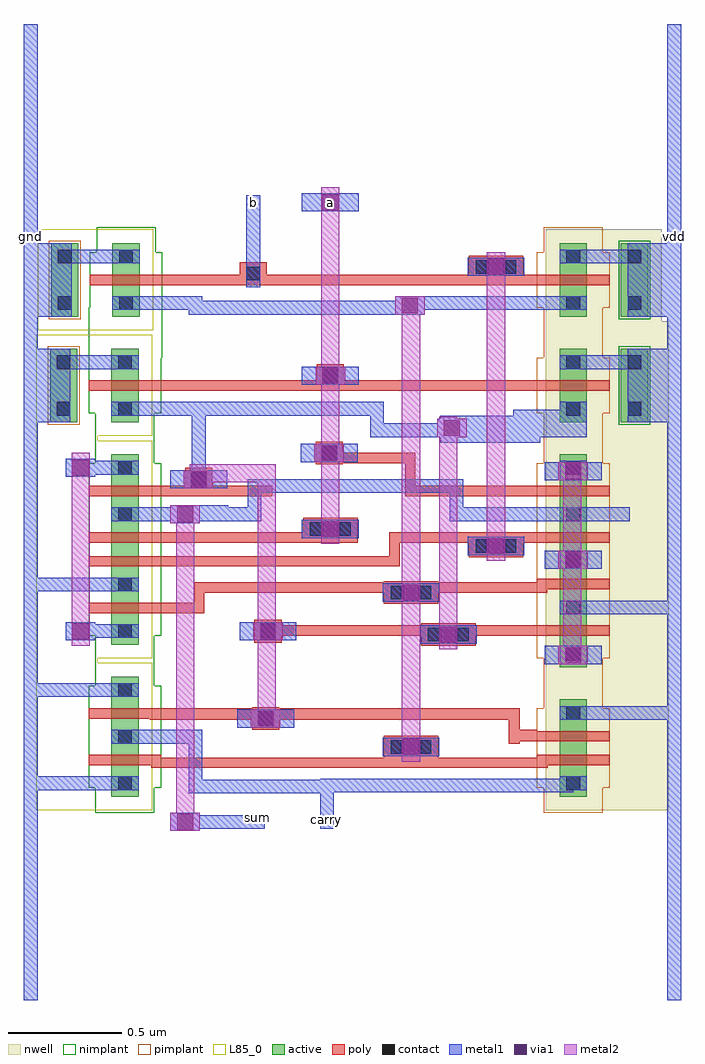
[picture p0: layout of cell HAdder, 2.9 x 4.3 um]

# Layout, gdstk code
from math import pi, radians
import gdstk
lib = gdstk.Library(unit=1e-6, precision=5e-10)
def R(c, l, rs):  # rectangles x0, y0, x1, y1
    for r in rs: c.add(gdstk.rectangle(r[:2], r[2:], *l))
active = (1, 0)
nwell = (2, 0)
poly = (3, 0)
nimplant = (4, 0)
pimplant = (5, 0)
contact = (6, 0)
metal1 = (7, 0)
via1 = (8, 0)
metal2 = (9, 0)
L85_0 = (85, 0)

pmos1v_cdns_765070438330 = lib.new_cell('pmos1v_CDNS_765070438330')
R(pmos1v_cdns_765070438330, active, [(-0.14,0,0,0.12), (0,0,0.045,0.12), (0.045,0,0.185,0.12), (-0.14,0.27,0.185,0.39)])
R(pmos1v_cdns_765070438330, nwell, [(-0.2,-0.06,0.245,0.45)])
R(pmos1v_cdns_765070438330, poly, [(0,-0.1,0.045,-0.05), (0,-0.05,0.045,0), (0,0,0.045,0.12), (0,0.12,0.045,0.17), (0,0.17,0.045,0.22)])
R(pmos1v_cdns_765070438330, nimplant, [(-0.15,0.26,0.195,0.4)])
R(pmos1v_cdns_765070438330, pimplant, [(-0.1,-0.1,0.145,0.22), (-0.21,-0.07,0.255,0.19)])
R(pmos1v_cdns_765070438330, contact, [(-0.11,0.03,-0.05,0.09), (0.095,0.03,0.155,0.09), (-0.11,0.3,-0.05,0.36), (0.095,0.3,0.155,0.36)])
R(pmos1v_cdns_765070438330, metal1, [(-0.11,0,-0.05,0.12), (0.095,0,0.155,0.12), (-0.14,0.3,0.185,0.36)])

pmos1v_cdns_765070438331 = lib.new_cell('pmos1v_CDNS_765070438331')
R(pmos1v_cdns_765070438331, active, [(-0.05,0,0,0.12), (0,0,0.045,0.12), (0.045,0,0.155,0.12)])
R(pmos1v_cdns_765070438331, nwell, [(-0.11,-0.06,0.215,0.18)])
R(pmos1v_cdns_765070438331, poly, [(0,-0.1,0.045,-0.05), (0,-0.05,0.045,0), (0,0,0.045,0.12), (0,0.12,0.045,0.17), (0,0.17,0.045,0.22)])
R(pmos1v_cdns_765070438331, pimplant, [(-0.1,-0.1,0.145,0.22), (-0.12,-0.07,0.225,0.19)])
R(pmos1v_cdns_765070438331, contact, [(0.095,0.03,0.155,0.09)])
R(pmos1v_cdns_765070438331, metal1, [(0.095,0,0.155,0.12)])

nmos1v_cdns_765070438332 = lib.new_cell('nmos1v_CDNS_765070438332')
R(nmos1v_cdns_765070438332, active, [(-0.14,0,0,0.12), (0,0,0.045,0.12), (0.045,0,0.095,0.12)])
R(nmos1v_cdns_765070438332, poly, [(0,-0.1,0.045,-0.05), (0,-0.05,0.045,0), (0,0,0.045,0.12), (0,0.12,0.045,0.17), (0,0.17,0.045,0.22)])
R(nmos1v_cdns_765070438332, nimplant, [(-0.1,-0.1,0.145,0.22), (-0.21,-0.07,0.165,0.19)])
R(nmos1v_cdns_765070438332, contact, [(-0.11,0.03,-0.05,0.09)])
R(nmos1v_cdns_765070438332, metal1, [(-0.11,0,-0.05,0.12)])
R(nmos1v_cdns_765070438332, L85_0, [(-0.2,-0.06,0.155,0.18)])

pmos1v_cdns_765070438333 = lib.new_cell('pmos1v_CDNS_765070438333')
R(pmos1v_cdns_765070438333, active, [(-0.11,0,0,0.12), (0,0,0.045,0.12), (0.045,0,0.155,0.12)])
R(pmos1v_cdns_765070438333, nwell, [(-0.17,-0.06,0.215,0.18)])
R(pmos1v_cdns_765070438333, poly, [(0,-0.1,0.045,-0.05), (0,-0.05,0.045,0), (0,0,0.045,0.12), (0,0.12,0.045,0.17), (0,0.17,0.045,0.22)])
R(pmos1v_cdns_765070438333, pimplant, [(-0.1,-0.1,0.145,0.22), (-0.18,-0.07,0.225,0.19)])
R(pmos1v_cdns_765070438333, contact, [(-0.11,0.03,-0.05,0.09), (0.095,0.03,0.155,0.09)])
R(pmos1v_cdns_765070438333, metal1, [(-0.11,0,-0.05,0.12), (0.095,0,0.155,0.12)])

pmos1v_cdns_765070438334 = lib.new_cell('pmos1v_CDNS_765070438334')
R(pmos1v_cdns_765070438334, active, [(-0.14,0,0,0.12), (0,0,0.045,0.12), (0.045,0,0.075,0.12)])
R(pmos1v_cdns_765070438334, nwell, [(-0.2,-0.06,0.135,0.18)])
R(pmos1v_cdns_765070438334, poly, [(0,-0.1,0.045,-0.05), (0,-0.05,0.045,0), (0,0,0.045,0.12), (0,0.12,0.045,0.17), (0,0.17,0.045,0.22)])
R(pmos1v_cdns_765070438334, pimplant, [(-0.1,-0.1,0.145,0.22), (-0.21,-0.07,0.145,0.19)])
R(pmos1v_cdns_765070438334, contact, [(-0.11,0.03,-0.05,0.09)])
R(pmos1v_cdns_765070438334, metal1, [(-0.11,0,-0.05,0.12)])

pmos1v_cdns_765070438335 = lib.new_cell('pmos1v_CDNS_765070438335')
R(pmos1v_cdns_765070438335, active, [(-0.03,0,0,0.12), (0,0,0.045,0.12), (0.045,0,0.185,0.12)])
R(pmos1v_cdns_765070438335, nwell, [(-0.09,-0.06,0.245,0.18)])
R(pmos1v_cdns_765070438335, poly, [(0,-0.1,0.045,-0.05), (0,-0.05,0.045,0), (0,0,0.045,0.12), (0,0.12,0.045,0.17), (0,0.17,0.045,0.22)])
R(pmos1v_cdns_765070438335, pimplant, [(-0.1,-0.1,0.145,0.22), (-0.1,-0.07,0.255,0.19)])
R(pmos1v_cdns_765070438335, contact, [(0.095,0.03,0.155,0.09)])
R(pmos1v_cdns_765070438335, metal1, [(0.095,0,0.155,0.12)])

nmos1v_cdns_765070438336 = lib.new_cell('nmos1v_CDNS_765070438336')
R(nmos1v_cdns_765070438336, active, [(-0.14,0,0,0.12), (0,0,0.045,0.12), (0.045,0,0.155,0.12)])
R(nmos1v_cdns_765070438336, poly, [(0,-0.1,0.045,-0.05), (0,-0.05,0.045,0), (0,0,0.045,0.12), (0,0.12,0.045,0.17), (0,0.17,0.045,0.22)])
R(nmos1v_cdns_765070438336, nimplant, [(-0.1,-0.1,0.145,0.22), (-0.21,-0.07,0.225,0.19)])
R(nmos1v_cdns_765070438336, contact, [(-0.11,0.03,-0.05,0.09), (0.095,0.03,0.155,0.09)])
R(nmos1v_cdns_765070438336, metal1, [(-0.11,0,-0.05,0.12), (0.095,0,0.155,0.12)])
R(nmos1v_cdns_765070438336, L85_0, [(-0.2,-0.06,0.215,0.18)])

nmos1v_cdns_765070438337 = lib.new_cell('nmos1v_CDNS_765070438337')
R(nmos1v_cdns_765070438337, active, [(-0.05,0,0,0.12), (0,0,0.045,0.12), (0.045,0,0.185,0.12)])
R(nmos1v_cdns_765070438337, poly, [(0,-0.1,0.045,-0.05), (0,-0.05,0.045,0), (0,0,0.045,0.12), (0,0.12,0.045,0.17), (0,0.17,0.045,0.22)])
R(nmos1v_cdns_765070438337, nimplant, [(-0.1,-0.1,0.145,0.22), (-0.12,-0.07,0.255,0.19)])
R(nmos1v_cdns_765070438337, contact, [(0.095,0.03,0.155,0.09)])
R(nmos1v_cdns_765070438337, metal1, [(0.095,0,0.155,0.12)])
R(nmos1v_cdns_765070438337, L85_0, [(-0.11,-0.06,0.245,0.18)])

nmos1v_cdns_765070438338 = lib.new_cell('nmos1v_CDNS_765070438338')
R(nmos1v_cdns_765070438338, active, [(-0.03,0,0,0.12), (0,0,0.045,0.12), (0.045,0,0.095,0.12)])
R(nmos1v_cdns_765070438338, poly, [(0,-0.1,0.045,-0.05), (0,-0.05,0.045,0), (0,0,0.045,0.12), (0,0.12,0.045,0.17), (0,0.17,0.045,0.22)])
R(nmos1v_cdns_765070438338, nimplant, [(-0.1,-0.1,0.145,0.22), (-0.1,-0.07,0.165,0.19)])
R(nmos1v_cdns_765070438338, L85_0, [(-0.09,-0.06,0.155,0.18)])

nmos1v_cdns_765070438339 = lib.new_cell('nmos1v_CDNS_765070438339')
R(nmos1v_cdns_765070438339, active, [(-0.11,0,0,0.12), (0,0,0.045,0.12), (0.045,0,0.075,0.12)])
R(nmos1v_cdns_765070438339, poly, [(0,-0.1,0.045,-0.05), (0,-0.05,0.045,0), (0,0,0.045,0.12), (0,0.12,0.045,0.17), (0,0.17,0.045,0.22)])
R(nmos1v_cdns_765070438339, nimplant, [(-0.1,-0.1,0.145,0.22), (-0.18,-0.07,0.145,0.19)])
R(nmos1v_cdns_765070438339, contact, [(-0.11,0.03,-0.05,0.09)])
R(nmos1v_cdns_765070438339, metal1, [(-0.11,0,-0.05,0.12)])
R(nmos1v_cdns_765070438339, L85_0, [(-0.17,-0.06,0.135,0.18)])

c_pmos1v_cdns_765070438331 = lib.new_cell('pmos1v_CDNS_7650704383310')
R(c_pmos1v_cdns_765070438331, active, [(-0.05,0,0,0.12), (0,0,0.045,0.12), (0.045,0,0.185,0.12)])
R(c_pmos1v_cdns_765070438331, nwell, [(-0.11,-0.06,0.245,0.18)])
R(c_pmos1v_cdns_765070438331, poly, [(0,-0.1,0.045,-0.05), (0,-0.05,0.045,0), (0,0,0.045,0.12), (0,0.12,0.045,0.17), (0,0.17,0.045,0.22)])
R(c_pmos1v_cdns_765070438331, pimplant, [(-0.1,-0.1,0.145,0.22), (-0.12,-0.07,0.255,0.19)])
R(c_pmos1v_cdns_765070438331, contact, [(0.095,0.03,0.155,0.09)])
R(c_pmos1v_cdns_765070438331, metal1, [(0.095,0,0.155,0.12)])

c_pmos1v_cdns_765070438331_ = lib.new_cell('pmos1v_CDNS_7650704383311')
R(c_pmos1v_cdns_765070438331_, active, [(-0.14,0,0,0.12), (0,0,0.045,0.12), (0.045,0,0.095,0.12)])
R(c_pmos1v_cdns_765070438331_, nwell, [(-0.2,-0.06,0.155,0.18)])
R(c_pmos1v_cdns_765070438331_, poly, [(0,-0.1,0.045,-0.05), (0,-0.05,0.045,0), (0,0,0.045,0.12), (0,0.12,0.045,0.17), (0,0.17,0.045,0.22)])
R(c_pmos1v_cdns_765070438331_, pimplant, [(-0.1,-0.1,0.145,0.22), (-0.21,-0.07,0.165,0.19)])
R(c_pmos1v_cdns_765070438331_, contact, [(-0.11,0.03,-0.05,0.09)])
R(c_pmos1v_cdns_765070438331_, metal1, [(-0.11,0,-0.05,0.12)])

nmos1v_cdns_765070438331 = lib.new_cell('nmos1v_CDNS_7650704383312')
R(nmos1v_cdns_765070438331, active, [(-0.14,-0.27,0.185,-0.15), (-0.14,0,0,0.12), (0,0,0.045,0.12), (0.045,0,0.185,0.12)])
R(nmos1v_cdns_765070438331, poly, [(0,-0.1,0.045,-0.05), (0,-0.05,0.045,0), (0,0,0.045,0.12), (0,0.12,0.045,0.17), (0,0.17,0.045,0.22)])
R(nmos1v_cdns_765070438331, nimplant, [(-0.1,-0.1,0.145,0.22), (-0.21,-0.07,0.255,0.19)])
R(nmos1v_cdns_765070438331, pimplant, [(-0.15,-0.28,0.195,-0.14)])
R(nmos1v_cdns_765070438331, contact, [(-0.11,-0.24,-0.05,-0.18), (0.095,-0.24,0.155,-0.18), (-0.11,0.03,-0.05,0.09), (0.095,0.03,0.155,0.09)])
R(nmos1v_cdns_765070438331, metal1, [(-0.14,-0.24,0.185,-0.18), (-0.11,0,-0.05,0.12), (0.095,0,0.155,0.12)])
R(nmos1v_cdns_765070438331, L85_0, [(-0.2,-0.33,0.245,0.18)])

m1_po_cdns_765070438330 = lib.new_cell('M1_PO_CDNS_765070438330')
R(m1_po_cdns_765070438330, poly, [(-0.06,-0.0475,0.06,0.0525)])
R(m1_po_cdns_765070438330, contact, [(-0.03,-0.0275,0.03,0.0325)])
R(m1_po_cdns_765070438330, metal1, [(-0.03,-0.0575,0.03,0.0625)])

m2_m1_cdns_765070438331 = lib.new_cell('M2_M1_CDNS_765070438331')
R(m2_m1_cdns_765070438331, metal1, [(-0.04,-0.065,0.04,0.065)])
R(m2_m1_cdns_765070438331, via1, [(-0.035,-0.035,0.035,0.035)])
R(m2_m1_cdns_765070438331, metal2, [(-0.065,-0.04,0.065,0.04)])

m2_m1_cdns_765070438332 = lib.new_cell('M2_M1_CDNS_765070438332')
R(m2_m1_cdns_765070438332, metal1, [(-0.04,-0.125,0.04,0.125)])
R(m2_m1_cdns_765070438332, via1, [(-0.035,-0.035,0.035,0.035)])
R(m2_m1_cdns_765070438332, metal2, [(-0.04,-0.065,0.04,0.065)])

m2_m1_cdns_765070438333 = lib.new_cell('M2_M1_CDNS_765070438333')
R(m2_m1_cdns_765070438333, metal1, [(-0.04,-0.065,0.04,0.065)])
R(m2_m1_cdns_765070438333, via1, [(-0.035,-0.035,0.035,0.035)])
R(m2_m1_cdns_765070438333, metal2, [(-0.04,-0.065,0.04,0.065)])

m1_po_cdns_765070438334 = lib.new_cell('M1_PO_CDNS_765070438334')
R(m1_po_cdns_765070438334, poly, [(-0.05,-0.06,0.05,0.06)])
R(m1_po_cdns_765070438334, contact, [(-0.03,-0.03,0.03,0.03)])
R(m1_po_cdns_765070438334, metal1, [(-0.04,-0.125,0.04,0.125)])

m2_m1_cdns_765070438335 = lib.new_cell('M2_M1_CDNS_765070438335')
R(m2_m1_cdns_765070438335, metal1, [(-0.125,-0.04,0.125,0.04)])
R(m2_m1_cdns_765070438335, via1, [(-0.035,-0.035,0.035,0.035)])
R(m2_m1_cdns_765070438335, metal2, [(-0.04,-0.065,0.04,0.065)])

m1_po_cdns_765070438336 = lib.new_cell('M1_PO_CDNS_765070438336')
R(m1_po_cdns_765070438336, poly, [(-0.12,-0.05,0.12,0.05)])
R(m1_po_cdns_765070438336, contact, [(-0.09,-0.03,-0.03,0.03), (0.03,-0.03,0.09,0.03)])
R(m1_po_cdns_765070438336, metal1, [(-0.12,-0.03,0.12,0.03)])

hadder = lib.new_cell('HAdder')
R(hadder, nwell, [(2.7,-3.645,3.24,-1.49), (2.94,-3.245,3.235,-1.835)])
R(hadder, nimplant, [(0.685,-1.65,0.72,-1.43), (0.975,-1.65,1.01,-1.43)])
R(hadder, metal1, [(1.4,-3.725,1.46,-3.665), (1.705,-3.725,1.765,-3.665), (0.4,-1.145,0.46,-1.085), (3.235,-1.145,3.295,-1.085), (1.38,-0.995,1.44,-0.935), (1.685,-0.995,1.72,-0.935)])
R(hadder, L85_0, [(0.455,-3.645,0.725,-1.995)])
hadder.add(gdstk.FlexPath([(1.475,-2.855),(1.475,-2.8525)], 0.045, ends="extended", simple_path=True, layer=3, datatype=0))  # poly
hadder.add(gdstk.FlexPath([(2.56,-3.325),(2.56,-3.315)], 0.045, ends=(0, 0.025), simple_path=True, layer=3, datatype=0))  # poly
hadder.add(gdstk.FlexPath([(0.98,-3.22),(1.465,-3.22)], 0.05, ends="extended", simple_path=True, layer=3, datatype=0))  # poly
hadder.add(gdstk.FlexPath([(2.56,-3.315),(2.66,-3.315)], 0.05, ends=(0.0225, 0), simple_path=True, layer=3, datatype=0))  # poly
hadder.add(gdstk.FlexPath([(2.66,-2.2375),(2.1025,-2.2375)], 0.045, ends=(0, 0.0225), simple_path=True, layer=3, datatype=0))  # poly
hadder.add(gdstk.FlexPath([(2.1025,-2.2375),(2.1025,-2.26)], 0.045, ends=(0.0225, 0), simple_path=True, layer=3, datatype=0))  # poly
hadder.add(gdstk.FlexPath([(1.005,-2.4425),(1.87,-2.4425)], 0.045, ends="flush", simple_path=True, layer=3, datatype=0))  # poly
hadder.add(gdstk.FlexPath([(2.48,-2.4425),(2.48,-2.48)], 0.045, ends="extended", simple_path=True, layer=3, datatype=0))  # poly
hadder.add(gdstk.FlexPath([(1.465,-3.22),(1.465,-3.24)], 0.045, ends="extended", simple_path=True, layer=3, datatype=0))  # poly
hadder.add(gdstk.FlexPath([(2.0325,-2.4425),(2.0325,-2.5475)], 0.045, ends="extended", simple_path=True, layer=3, datatype=0))  # poly
hadder.add(gdstk.FlexPath([(1.75,-2.0925),(2.1025,-2.0925)], 0.045, ends=(0, 0.0225), simple_path=True, layer=3, datatype=0))  # poly
hadder.add(gdstk.FlexPath([(1.1725,-2.7525),(1.1725,-2.6625)], 0.045, ends="extended", simple_path=True, layer=3, datatype=0))  # poly
hadder.add(gdstk.FlexPath([(1.1725,-2.6625),(2.705,-2.6625)], 0.045, ends=(0.0225, 0), simple_path=True, layer=3, datatype=0))  # poly
hadder.add(gdstk.FlexPath([(2.1025,-2.0925),(2.1025,-2.2375)], 0.045, ends="extended", simple_path=True, layer=3, datatype=0))  # poly
hadder.add(gdstk.FlexPath([(2.48,-1.3075),(2.6825,-1.3075)], 0.045, ends="extended", simple_path=True, layer=3, datatype=0))  # poly
hadder.add(gdstk.FlexPath([(2.105,-2.66),(2.105,-2.685)], 0.045, ends="extended", simple_path=True, layer=3, datatype=0))  # poly
hadder.add(gdstk.FlexPath([(2.685,-3.435),(2.105,-3.435)], 0.045, ends="extended", simple_path=True, layer=3, datatype=0))  # poly
hadder.add(gdstk.FlexPath([(2.0325,-2.5475),(1.005,-2.5475)], 0.045, ends=(0.0225, 0), simple_path=True, layer=3, datatype=0))  # poly
hadder.add(gdstk.FlexPath([(2.66,-2.4425),(2.0325,-2.4425)], 0.045, ends=(0, 0.0225), simple_path=True, layer=3, datatype=0))  # poly
hadder.add(gdstk.FlexPath([(2.0325,-2.5475),(2.055,-2.5475)], 0.045, ends=(0.0225, 0), simple_path=True, layer=3, datatype=0))  # poly
hadder.add(gdstk.FlexPath([(1.01,-1.3075),(2.66,-1.3075)], 0.045, ends="flush", simple_path=True, layer=3, datatype=0))  # poly
hadder.add(gdstk.FlexPath([(1.475,-2.8525),(2.685,-2.8525)], 0.045, ends="flush", simple_path=True, layer=3, datatype=0))  # poly
hadder.add(gdstk.FlexPath([(1.465,-3.22),(2.56,-3.22)], 0.05, ends="extended", simple_path=True, layer=3, datatype=0))  # poly
hadder.add(gdstk.FlexPath([(2.66,-3.435),(0.96,-3.435)], 0.045, ends="flush", simple_path=True, layer=3, datatype=0))  # poly
hadder.add(gdstk.FlexPath([(2.105,-3.435),(2.105,-3.365)], 0.045, ends="extended", simple_path=True, layer=3, datatype=0))  # poly
hadder.add(gdstk.FlexPath([(0.9825,-2.2375),(1.17,-2.2375)], 0.045, ends="extended", simple_path=True, layer=3, datatype=0))  # poly
hadder.add(gdstk.FlexPath([(1.17,-2.2375),(1.17,-2.185)], 0.045, ends="extended", simple_path=True, layer=3, datatype=0))  # poly
hadder.add(gdstk.FlexPath([(2.48,-1.25),(2.48,-1.3075)], 0.045, ends="extended", simple_path=True, layer=3, datatype=0))  # poly
hadder.add(gdstk.FlexPath([(1.005,-1.7725),(2.66,-1.7725)], 0.045, ends="flush", simple_path=True, layer=3, datatype=0))  # poly
hadder.add(gdstk.FlexPath([(2.56,-3.22),(2.56,-3.325)], 0.05, ends="extended", simple_path=True, layer=3, datatype=0))  # poly
hadder.add(gdstk.FlexPath([(1.005,-2.7525),(1.1725,-2.7525)], 0.045, ends=(0, 0.0225), simple_path=True, layer=3, datatype=0))  # poly
hadder.add(gdstk.FlexPath([(1.005,-2.2375),(1.4725,-2.2375)], 0.045, ends=(0, 0.0225), simple_path=True, layer=3, datatype=0))  # poly
hadder.add(gdstk.FlexPath([(1.4725,-2.2375),(1.4725,-2.25)], 0.045, ends=(0.0225, 0), simple_path=True, layer=3, datatype=0))  # poly
hadder.add(gdstk.FlexPath([(2.6825,-2.4425),(2.48,-2.4425)], 0.045, ends="extended", simple_path=True, layer=3, datatype=0))  # poly
hadder.add(gdstk.FlexPath([(1.735,-3.665),(1.735,-3.54)], 0.06, ends=(0, 0.03), simple_path=True, layer=7, datatype=0))  # metal1
hadder.add(gdstk.FlexPath([(1.11,-3.695),(1.4,-3.695)], 0.06, ends="flush", simple_path=True, layer=7, datatype=0))  # metal1
hadder.add(gdstk.FlexPath([(0.885,-1.41),(1.155,-1.41)], 0.06, ends=(0, 0.03), simple_path=True, layer=7, datatype=0))  # metal1
hadder.add(gdstk.FlexPath([(2.605,-1.965),(2.235,-1.965)], 0.12, ends=(0.06, 0), simple_path=True, layer=7, datatype=0))  # metal1
hadder.add(gdstk.FlexPath([(1.17,-2.185),(1.17,-2.2)], 0.06, ends=(0.03, 0), simple_path=True, layer=7, datatype=0))  # metal1
hadder.add(gdstk.FlexPath([(0.43,-1.7725),(0.43,-2.65)], 0.06, ends="flush", simple_path=True, layer=7, datatype=0))  # metal1
hadder.add(gdstk.FlexPath([(0.43,-1.125),(0.43,-1.3075)], 0.06, ends="flush", simple_path=True, layer=7, datatype=0))  # metal1
hadder.add(gdstk.FlexPath([(0.65,-2.135),(0.875,-2.135)], 0.06, ends=(0.065, 0.03), simple_path=True, layer=7, datatype=0))  # metal1
hadder.add(gdstk.FlexPath([(0.875,-2.855),(0.65,-2.855)], 0.06, ends=(0.03, 0.065), simple_path=True, layer=7, datatype=0))  # metal1
hadder.add(gdstk.FlexPath([(3.265,-3.215),(3.265,-4.48)], 0.06, ends=(0.03, 0), simple_path=True, layer=7, datatype=0))  # metal1
hadder.add(gdstk.FlexPath([(1.415,-2.34),(1.235,-2.34)], 0.06, ends=(0.03, 0.065), simple_path=True, layer=7, datatype=0))  # metal1
hadder.add(gdstk.FlexPath([(1.415,-2.215),(1.415,-2.34)], 0.06, ends="extended", simple_path=True, layer=7, datatype=0))  # metal1
hadder.add(gdstk.FlexPath([(2.305,-2.215),(1.415,-2.215)], 0.06, ends="extended", simple_path=True, layer=7, datatype=0))  # metal1
hadder.add(gdstk.FlexPath([(0.785,-1.67),(0.545,-1.67)], 0.06, ends="flush", simple_path=True, layer=7, datatype=0))  # metal1
hadder.add(gdstk.FlexPath([(0.79,-1.205),(0.55,-1.205)], 0.06, ends="flush", simple_path=True, layer=7, datatype=0))  # metal1
hadder.add(gdstk.FlexPath([(2.88,-1.67),(3.12,-1.67)], 0.06, ends="flush", simple_path=True, layer=7, datatype=0))  # metal1
hadder.add(gdstk.FlexPath([(2.88,-1.205),(3.06,-1.205)], 0.06, ends="flush", simple_path=True, layer=7, datatype=0))  # metal1
hadder.add(gdstk.FlexPath([(2.82,-1.905),(2.82,-1.94)], 0.12, ends=(0, 0.06), simple_path=True, layer=7, datatype=0))  # metal1
hadder.add(gdstk.FlexPath([(3.12,-1.7725),(3.265,-1.7725)], 0.325, ends=(0, 0.03), simple_path=True, layer=7, datatype=0))  # metal1
hadder.add(gdstk.FlexPath([(3.095,-1.3075),(3.265,-1.3075)], 0.325, ends=(0, 0.03), simple_path=True, layer=7, datatype=0))  # metal1
hadder.add(gdstk.FlexPath([(3.265,-1.145),(3.265,-1.3075)], 0.06, ends=(0, 0.1625), simple_path=True, layer=7, datatype=0))  # metal1
hadder.add(gdstk.FlexPath([(0.545,-1.7725),(0.43,-1.7725)], 0.325, ends=(0, 0.03), simple_path=True, layer=7, datatype=0))  # metal1
hadder.add(gdstk.FlexPath([(0.43,-3.525),(0.43,-4.48)], 0.06, ends="flush", simple_path=True, layer=7, datatype=0))  # metal1
hadder.add(gdstk.FlexPath([(0.55,-1.3075),(0.43,-1.3075)], 0.325, ends=(0, 0.03), simple_path=True, layer=7, datatype=0))  # metal1
hadder.add(gdstk.FlexPath([(0.785,-3.525),(0.43,-3.525)], 0.06, ends=(0, 0.03), simple_path=True, layer=7, datatype=0))  # metal1
hadder.add(gdstk.FlexPath([(2.605,-1.97),(2.605,-1.965)], 0.06, ends=(0.03, 0.06), simple_path=True, layer=7, datatype=0))  # metal1
hadder.add(gdstk.FlexPath([(3.265,-1.7725),(3.265,-2.75)], 0.06, ends=(0.1625, 0.03), simple_path=True, layer=7, datatype=0))  # metal1
hadder.add(gdstk.FlexPath([(3.265,-1.085),(3.265,-0.18)], 0.06, ends="flush", simple_path=True, layer=7, datatype=0))  # metal1
hadder.add(gdstk.FlexPath([(1.735,-3.535),(2.82,-3.535)], 0.06, ends=(0.03, 0), simple_path=True, layer=7, datatype=0))  # metal1
hadder.add(gdstk.FlexPath([(0.43,-1.3075),(0.43,-1.7725)], 0.06, ends="flush", simple_path=True, layer=7, datatype=0))  # metal1
hadder.add(gdstk.FlexPath([(0.43,-2.65),(0.43,-3.115)], 0.06, ends="flush", simple_path=True, layer=7, datatype=0))  # metal1
hadder.add(gdstk.FlexPath([(2.88,-2.75),(3.265,-2.75)], 0.06, ends=(0, 0.03), simple_path=True, layer=7, datatype=0))  # metal1
hadder.add(gdstk.FlexPath([(2.88,-3.215),(3.265,-3.215)], 0.06, ends=(0, 0.03), simple_path=True, layer=7, datatype=0))  # metal1
hadder.add(gdstk.FlexPath([(2.82,-1.94),(2.615,-1.94)], 0.12, ends=(0, 0.06), simple_path=True, layer=7, datatype=0))  # metal1
hadder.add(gdstk.FlexPath([(0.785,-2.65),(0.43,-2.65)], 0.06, ends=(0, 0.03), simple_path=True, layer=7, datatype=0))  # metal1
hadder.add(gdstk.FlexPath([(2.305,-2.34),(2.305,-2.215)], 0.06, ends="extended", simple_path=True, layer=7, datatype=0))  # metal1
hadder.add(gdstk.FlexPath([(3.265,-2.75),(3.265,-3.215)], 0.06, ends="extended", simple_path=True, layer=7, datatype=0))  # metal1
hadder.add(gdstk.FlexPath([(0.43,-1.095),(0.43,-0.18)], 0.06, ends="flush", simple_path=True, layer=7, datatype=0))  # metal1
hadder.add(gdstk.FlexPath([(0.785,-3.115),(0.43,-3.115)], 0.06, ends=(0, 0.03), simple_path=True, layer=7, datatype=0))  # metal1
hadder.add(gdstk.FlexPath([(3.265,-1.3075),(3.265,-1.7725)], 0.06, ends=(0.1625, 0.1625), simple_path=True, layer=7, datatype=0))  # metal1
hadder.add(gdstk.FlexPath([(1.235,-2.33),(1.235,-2.34)], 0.13, ends=(0.03, 0.03), simple_path=True, layer=7, datatype=0))  # metal1
hadder.add(gdstk.FlexPath([(2.615,-1.965),(2.605,-1.965)], 0.12, ends=(0.06, 0), simple_path=True, layer=7, datatype=0))  # metal1
hadder.add(gdstk.FlexPath([(0.905,-3.32),(1.155,-3.32)], 0.06, ends=(0, 0.03), simple_path=True, layer=7, datatype=0))  # metal1
hadder.add(gdstk.FlexPath([(1.155,-3.32),(1.155,-3.54)], 0.06, ends="extended", simple_path=True, layer=7, datatype=0))  # metal1
hadder.add(gdstk.FlexPath([(1.155,-3.54),(1.735,-3.54)], 0.06, ends="extended", simple_path=True, layer=7, datatype=0))  # metal1
hadder.add(gdstk.FlexPath([(1.735,-3.54),(1.735,-3.535)], 0.06, ends="extended", simple_path=True, layer=7, datatype=0))  # metal1
hadder.add(gdstk.FlexPath([(1.155,-1.43),(2.08,-1.43)], 0.06, ends="extended", simple_path=True, layer=7, datatype=0))  # metal1
hadder.add(gdstk.FlexPath([(0.43,-3.115),(0.43,-3.525)], 0.06, ends="flush", simple_path=True, layer=7, datatype=0))  # metal1
hadder.add(gdstk.FlexPath([(1.17,-1.875),(1.955,-1.875)], 0.06, ends="extended", simple_path=True, layer=7, datatype=0))  # metal1
hadder.add(gdstk.FlexPath([(1.155,-1.41),(1.155,-1.42)], 0.06, ends=(0.03, 0), simple_path=True, layer=7, datatype=0))  # metal1
hadder.add(gdstk.FlexPath([(2.08,-1.41),(2.08,-1.42)], 0.06, ends=(0.03, 0), simple_path=True, layer=7, datatype=0))  # metal1
hadder.add(gdstk.FlexPath([(1.155,-1.41),(1.155,-1.43)], 0.06, ends=(0, 0.03), simple_path=True, layer=7, datatype=0))  # metal1
hadder.add(gdstk.FlexPath([(1.41,-0.98),(1.41,-1.2825)], 0.06, ends="flush", simple_path=True, layer=7, datatype=0))  # metal1
hadder.add(gdstk.FlexPath([(1.17,-1.875),(1.17,-2.185)], 0.06, ends=(0.03, 0), simple_path=True, layer=7, datatype=0))  # metal1
hadder.add(gdstk.FlexPath([(2.82,-2.34),(2.305,-2.34)], 0.06, ends="extended", simple_path=True, layer=7, datatype=0))  # metal1
hadder.add(gdstk.FlexPath([(3.005,-2.34),(2.82,-2.34)], 0.06, ends=(0.065, 0.03), simple_path=True, layer=7, datatype=0))  # metal1
hadder.add(gdstk.FlexPath([(1.41,-1.2825),(1.41,-1.3075)], 0.06, ends="flush", simple_path=True, layer=7, datatype=0))  # metal1
hadder.add(gdstk.FlexPath([(1.11,-2.34),(0.905,-2.34)], 0.06, ends=(0.03, 0), simple_path=True, layer=7, datatype=0))  # metal1
hadder.add(gdstk.FlexPath([(0.88,-1.875),(1.17,-1.875)], 0.06, ends=(0, 0.03), simple_path=True, layer=7, datatype=0))  # metal1
hadder.add(gdstk.FlexPath([(2.79,-2.34),(2.79,-2.37)], 0.06, ends=(0.03, 0), simple_path=True, layer=7, datatype=0))  # metal1
hadder.add(gdstk.FlexPath([(2.76,-1.41),(2.08,-1.41)], 0.06, ends=(0, 0.03), simple_path=True, layer=7, datatype=0))  # metal1
hadder.add(gdstk.FlexPath([(1.235,-2.34),(1.11,-2.34)], 0.06, ends=(0.065, 0), simple_path=True, layer=7, datatype=0))  # metal1
hadder.add(gdstk.FlexPath([(2.08,-1.43),(2.08,-1.41)], 0.06, ends=(0.03, 0), simple_path=True, layer=7, datatype=0))  # metal1
hadder.add(gdstk.FlexPath([(2.08,-1.42),(2.1,-1.42)], 0.06, ends="extended", simple_path=True, layer=7, datatype=0))  # metal1
hadder.add(gdstk.FlexPath([(1.955,-1.97),(2.605,-1.97)], 0.06, ends="extended", simple_path=True, layer=7, datatype=0))  # metal1
hadder.add(gdstk.FlexPath([(1.955,-1.875),(1.955,-1.97)], 0.06, ends="extended", simple_path=True, layer=7, datatype=0))  # metal1
hadder.add(gdstk.FlexPath([(2.615,-1.94),(2.615,-1.965)], 0.12, ends="extended", simple_path=True, layer=7, datatype=0))  # metal1
hadder.add(gdstk.FlexPath([(1.47,-2.855),(1.475,-2.855)], 0.08, ends="extended", simple_path=True, layer=9, datatype=0))  # metal2
hadder.add(gdstk.FlexPath([(1.47,-2.855),(1.47,-2.16)], 0.08, ends="extended", simple_path=True, layer=9, datatype=0))  # metal2
hadder.add(gdstk.FlexPath([(1.47,-2.86),(1.495,-2.86)], 0.08, ends=(0.04, 0), simple_path=True, layer=9, datatype=0))  # metal2
hadder.add(gdstk.FlexPath([(1.11,-2.34),(1.11,-3.695)], 0.08, ends="flush", simple_path=True, layer=9, datatype=0))  # metal2
hadder.add(gdstk.FlexPath([(0.65,-2.855),(0.65,-2.135)], 0.08, ends=(0.065, 0.065), simple_path=True, layer=9, datatype=0))  # metal2
hadder.add(gdstk.FlexPath([(2.08,-1.42),(2.1,-1.42)], 0.08, ends=(0, 0.04), simple_path=True, layer=9, datatype=0))  # metal2
hadder.add(gdstk.FlexPath([(1.465,-3.24),(1.47,-3.24)], 0.08, ends="extended", simple_path=True, layer=9, datatype=0))  # metal2
hadder.add(gdstk.FlexPath([(2.27,-2.835),(2.27,-1.95)], 0.08, ends=(0, 0.04), simple_path=True, layer=9, datatype=0))  # metal2
hadder.add(gdstk.FlexPath([(1.17,-2.16),(1.17,-2.185)], 0.08, ends=(0.04, 0), simple_path=True, layer=9, datatype=0))  # metal2
hadder.add(gdstk.FlexPath([(2.48,-1.25),(2.48,-2.48)], 0.08, ends="flush", simple_path=True, layer=9, datatype=0))  # metal2
hadder.add(gdstk.FlexPath([(2.27,-1.95),(2.285,-1.95)], 0.08, ends=(0.04, 0), simple_path=True, layer=9, datatype=0))  # metal2
hadder.add(gdstk.FlexPath([(1.47,-3.24),(1.47,-2.86)], 0.08, ends="extended", simple_path=True, layer=9, datatype=0))  # metal2
hadder.add(gdstk.FlexPath([(1.495,-3.24),(1.47,-3.24)], 0.08, ends=(0, 0.04), simple_path=True, layer=9, datatype=0))  # metal2
hadder.add(gdstk.FlexPath([(1.47,-2.86),(1.47,-2.855)], 0.08, ends="extended", simple_path=True, layer=9, datatype=0))  # metal2
hadder.add(gdstk.FlexPath([(2.1,-1.42),(2.105,-1.42)], 0.08, ends=(0, 0.04), simple_path=True, layer=9, datatype=0))  # metal2
hadder.add(gdstk.FlexPath([(1.75,-0.965),(1.75,-1.73)], 0.08, ends=(0.065, 0.02), simple_path=True, layer=9, datatype=0))  # metal2
hadder.add(gdstk.FlexPath([(2.815,-2.975),(2.815,-2.13)], 0.08, ends="flush", simple_path=True, layer=9, datatype=0))  # metal2
hadder.add(gdstk.FlexPath([(2.105,-1.42),(2.105,-2.685)], 0.08, ends=(0.04, 0), simple_path=True, layer=9, datatype=0))  # metal2
hadder.add(gdstk.FlexPath([(1.47,-2.16),(1.17,-2.16)], 0.08, ends="extended", simple_path=True, layer=9, datatype=0))  # metal2
hadder.add(gdstk.FlexPath([(1.75,-1.73),(1.75,-2.405)], 0.08, ends=(0.04, 0.02), simple_path=True, layer=9, datatype=0))  # metal2
hadder.add(gdstk.FlexPath([(2.105,-3.365),(2.105,-2.685)], 0.08, ends="extended", simple_path=True, layer=9, datatype=0))  # metal2
hadder.add(gdstk.Reference(pmos1v_cdns_765070438330, (2.76,-1.75), rotation=3*pi/2))
hadder.add(gdstk.Reference(pmos1v_cdns_765070438330, (2.76,-1.285), rotation=3*pi/2))
hadder.add(gdstk.Reference(pmos1v_cdns_765070438331, (2.76,-2.465), rotation=pi/2, x_reflection=True))
hadder.add(gdstk.Reference(nmos1v_cdns_765070438332, (0.785,-3.445), rotation=pi/2, x_reflection=True))
hadder.add(gdstk.Reference(pmos1v_cdns_765070438333, (2.76,-2.67), rotation=pi/2, x_reflection=True))
hadder.add(gdstk.Reference(pmos1v_cdns_765070438334, (2.76,-3.295), rotation=3*pi/2))
hadder.add(gdstk.Reference(pmos1v_cdns_765070438335, (2.76,-3.4), rotation=3*pi/2))
hadder.add(gdstk.Reference(nmos1v_cdns_765070438336, (0.785,-3.195), rotation=3*pi/2))
hadder.add(gdstk.Reference(nmos1v_cdns_765070438336, (0.785,-2.215), rotation=3*pi/2))
hadder.add(gdstk.Reference(nmos1v_cdns_765070438337, (0.785,-2.73), rotation=3*pi/2))
hadder.add(gdstk.Reference(nmos1v_cdns_765070438338, (0.785,-2.465), rotation=pi/2, x_reflection=True))
hadder.add(gdstk.Reference(nmos1v_cdns_765070438339, (0.785,-2.57), rotation=pi/2, x_reflection=True))
hadder.add(gdstk.Reference(c_pmos1v_cdns_765070438331, (2.76,-2.83), rotation=3*pi/2))
hadder.add(gdstk.Reference(c_pmos1v_cdns_765070438331_, (2.76,-2.215), rotation=3*pi/2))
hadder.add(gdstk.Reference(nmos1v_cdns_765070438331, (0.785,-1.75), rotation=3*pi/2))
hadder.add(gdstk.Reference(nmos1v_cdns_765070438331, (0.79,-1.285), rotation=3*pi/2))
hadder.add(gdstk.Reference(m1_po_cdns_765070438330, (1.41,-1.2825)))
hadder.add(gdstk.Reference(m2_m1_cdns_765070438331, (0.65,-2.135), rotation=3*pi/2))
hadder.add(gdstk.Reference(m2_m1_cdns_765070438331, (0.65,-2.855), rotation=3*pi/2))
hadder.add(gdstk.Reference(m2_m1_cdns_765070438332, (1.75,-1.73), rotation=pi/2))
hadder.add(gdstk.Reference(m2_m1_cdns_765070438332, (2.82,-2.15), rotation=pi/2))
hadder.add(gdstk.Reference(m2_m1_cdns_765070438332, (1.475,-2.855), rotation=pi/2))
hadder.add(gdstk.Reference(m2_m1_cdns_765070438332, (2.82,-2.96), rotation=pi/2))
hadder.add(gdstk.Reference(m2_m1_cdns_765070438332, (1.17,-2.185), rotation=pi/2))
hadder.add(gdstk.Reference(m2_m1_cdns_765070438332, (2.82,-2.54), rotation=pi/2))
hadder.add(gdstk.Reference(m2_m1_cdns_765070438332, (1.745,-2.07), rotation=pi/2))
hadder.add(gdstk.Reference(m2_m1_cdns_765070438332, (1.465,-3.24), rotation=pi/2))
hadder.add(gdstk.Reference(m2_m1_cdns_765070438333, (2.285,-1.96), rotation=pi/2))
hadder.add(gdstk.Reference(m2_m1_cdns_765070438333, (1.11,-2.34), rotation=pi/2))
hadder.add(gdstk.Reference(m2_m1_cdns_765070438333, (2.1,-1.42), rotation=pi/2))
hadder.add(gdstk.Reference(m2_m1_cdns_765070438333, (1.11,-3.695), rotation=pi/2))
hadder.add(gdstk.Reference(m1_po_cdns_765070438334, (1.475,-2.855), rotation=pi/2))
hadder.add(gdstk.Reference(m1_po_cdns_765070438334, (1.17,-2.185), rotation=pi/2))
hadder.add(gdstk.Reference(m1_po_cdns_765070438334, (1.75,-1.73), rotation=pi/2))
hadder.add(gdstk.Reference(m1_po_cdns_765070438334, (1.745,-2.07), rotation=pi/2))
hadder.add(gdstk.Reference(m1_po_cdns_765070438334, (1.465,-3.24), rotation=pi/2))
hadder.add(gdstk.Reference(m2_m1_cdns_765070438335, (2.48,-1.25)))
hadder.add(gdstk.Reference(m2_m1_cdns_765070438335, (2.48,-2.48)))
hadder.add(gdstk.Reference(m2_m1_cdns_765070438335, (2.27,-2.87)))
hadder.add(gdstk.Reference(m2_m1_cdns_765070438335, (1.75,-2.405)))
hadder.add(gdstk.Reference(m2_m1_cdns_765070438335, (1.75,-0.965)))
hadder.add(gdstk.Reference(m2_m1_cdns_765070438335, (2.105,-2.685)))
hadder.add(gdstk.Reference(m2_m1_cdns_765070438335, (2.105,-3.365)))
hadder.add(gdstk.Reference(m1_po_cdns_765070438336, (2.48,-1.25)))
hadder.add(gdstk.Reference(m1_po_cdns_765070438336, (1.75,-2.405)))
hadder.add(gdstk.Reference(m1_po_cdns_765070438336, (2.48,-2.48)))
hadder.add(gdstk.Reference(m1_po_cdns_765070438336, (2.105,-2.685)))
hadder.add(gdstk.Reference(m1_po_cdns_765070438336, (2.105,-3.365)))
hadder.add(gdstk.Reference(m1_po_cdns_765070438336, (2.27,-2.87)))
hadder.add(gdstk.Label('gnd', (0.43,-1.115), layer=7, texttype=3))
hadder.add(gdstk.Label('vdd', (3.265,-1.115), layer=7, texttype=3))
hadder.add(gdstk.Label('carry', (1.735,-3.685), layer=7, texttype=3))
hadder.add(gdstk.Label('sum', (1.43,-3.675), layer=7, texttype=3))
hadder.add(gdstk.Label('b', (1.41,-0.965), layer=7, texttype=3))
hadder.add(gdstk.Label('a', (1.75,-0.965), layer=7, texttype=3))

lib.write_gds('HAdder.gds')
